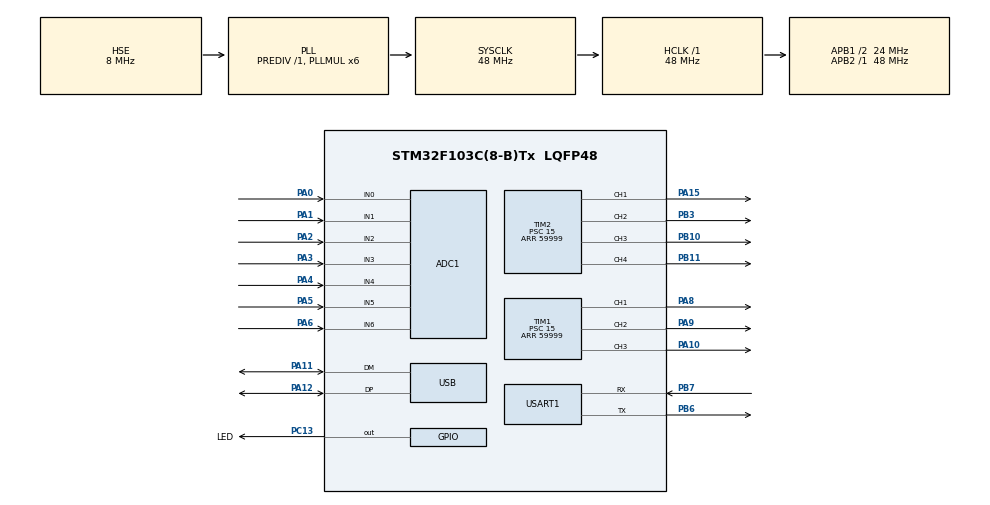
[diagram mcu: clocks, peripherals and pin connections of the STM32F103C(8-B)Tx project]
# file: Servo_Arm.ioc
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ADC1.Channel-0\#ChannelRegularConversion=ADC_CHANNEL_0
ADC1.NbrOfConversionFlag=1
ADC1.Rank-0\#ChannelRegularConversion=1
ADC1.SamplingTime-0\#ChannelRegularConversion=ADC_SAMPLETIME_71CYCLES_5
ADC1.master=1
Mcu.Family=STM32F1
Mcu.Name=STM32F103C(8-B)Tx
Mcu.Package=LQFP48
NVIC.PriorityGroup=NVIC_PRIORITYGROUP_4
NVIC.USART1_IRQn=true\:1\:0\:false\:false\:true\:true\:true\:true
NVIC.USB_LP_CAN1_RX0_IRQn=true\:0\:0\:false\:false\:true\:false\:true\:true
PA0-WKUP.Signal=ADCx_IN0
PA1.Signal=ADCx_IN1
PA10.Signal=S_TIM1_CH3
PA11.Mode=Device
PA11.Signal=USB_DM
PA12.Mode=Device
PA12.Signal=USB_DP
PA13.Mode=Serial_Wire
PA13.Signal=SYS_JTMS-SWDIO
PA14.Mode=Serial_Wire
PA14.Signal=SYS_JTCK-SWCLK
PA15.Signal=S_TIM2_CH1_ETR
PA2.Signal=ADCx_IN2
PA3.Signal=ADCx_IN3
PA4.Signal=ADCx_IN4
PA5.Signal=ADCx_IN5
PA6.Signal=ADCx_IN6
PA8.Signal=S_TIM1_CH1
PA9.Signal=S_TIM1_CH2
PB10.Signal=S_TIM2_CH3
PB11.Signal=S_TIM2_CH4
PB3.Signal=S_TIM2_CH2
PB6.Mode=Asynchronous
PB6.Signal=USART1_TX
PB7.Mode=Asynchronous
PB7.Signal=USART1_RX
PC13-TAMPER-RTC.GPIO_Label=LED
PC13-TAMPER-RTC.PinState=GPIO_PIN_SET
PC13-TAMPER-RTC.Signal=GPIO_Output
PD0-OSC_IN.Mode=HSE-External-Oscillator
PD0-OSC_IN.Signal=RCC_OSC_IN
PD1-OSC_OUT.Mode=HSE-External-Oscillator
PD1-OSC_OUT.Signal=RCC_OSC_OUT
ProjectManager.HeapSize=0x200
ProjectManager.StackSize=0x400
ProjectManager.TargetToolchain=STM32CubeIDE
RCC.ADCPresc=RCC_ADCPCLK2_DIV4
RCC.AHBFreq_Value=48000000
RCC.APB1CLKDivider=RCC_HCLK_DIV2
RCC.APB1Freq_Value=24000000
RCC.APB1TimFreq_Value=48000000
RCC.APB2Freq_Value=48000000
RCC.APB2TimFreq_Value=48000000
RCC.HCLKFreq_Value=48000000
RCC.PLLMUL=RCC_PLL_MUL6
RCC.PLLSourceVirtual=RCC_PLLSOURCE_HSE
RCC.SYSCLKFreq_VALUE=48000000
RCC.SYSCLKSource=RCC_SYSCLKSOURCE_PLLCLK
RCC.USBFreq_Value=48000000
SH.ADCx_IN0.0=ADC1_IN0,IN0
SH.ADCx_IN1.0=ADC1_IN1,IN1
SH.ADCx_IN2.0=ADC1_IN2,IN2
SH.ADCx_IN3.0=ADC1_IN3,IN3
SH.ADCx_IN4.0=ADC1_IN4,IN4
SH.ADCx_IN5.0=ADC1_IN5,IN5
SH.ADCx_IN6.0=ADC1_IN6,IN6
SH.S_TIM1_CH1.0=TIM1_CH1,PWM Generation1 CH1
SH.S_TIM1_CH2.0=TIM1_CH2,PWM Generation2 CH2
SH.S_TIM1_CH3.0=TIM1_CH3,PWM Generation3 CH3
SH.S_TIM2_CH1_ETR.0=TIM2_CH1,PWM Generation1 CH1
SH.S_TIM2_CH2.0=TIM2_CH2,PWM Generation2 CH2
SH.S_TIM2_CH3.0=TIM2_CH3,PWM Generation3 CH3
SH.S_TIM2_CH4.0=TIM2_CH4,PWM Generation4 CH4
TIM1.Channel-PWM\ Generation1\ CH1=TIM_CHANNEL_1
TIM1.Channel-PWM\ Generation2\ CH2=TIM_CHANNEL_2
TIM1.Channel-PWM\ Generation3\ CH3=TIM_CHANNEL_3
TIM1.Period=59999
TIM1.Prescaler=15
TIM2.Channel-PWM\ Generation1\ CH1=TIM_CHANNEL_1
TIM2.Channel-PWM\ Generation2\ CH2=TIM_CHANNEL_2
TIM2.Channel-PWM\ Generation3\ CH3=TIM_CHANNEL_3
TIM2.Channel-PWM\ Generation4\ CH4=TIM_CHANNEL_4
TIM2.Period=59999
TIM2.Prescaler=15
USART1.VirtualMode=VM_ASYNC
USB_DEVICE.CLASS_NAME_FS=CDC
USB_DEVICE.VirtualMode=Cdc
USB_DEVICE.VirtualModeFS=Cdc_FS
VP_USB_DEVICE_VS_USB_DEVICE_CDC_FS.Mode=CDC_FS
board=custom

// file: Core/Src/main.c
/* USER CODE BEGIN Header */
/**
  ******************************************************************************
  * @file           : main.c
  * @brief          : Main program body
  ******************************************************************************
  * @attention
  *
  * Copyright (c) 2026 STMicroelectronics.
  * All rights reserved.
  *
  * This software is licensed under terms that can be found in the LICENSE file
  * in the root directory of this software component.
  * If no LICENSE file comes with this software, it is provided AS-IS.
  *
  ******************************************************************************
  */
/* USER CODE END Header */
#include "main.h"
#include "adc.h"
#include "tim.h"
#include "usart.h"
#include "usb_device.h"
#include "gpio.h"

/* USER CODE BEGIN Includes */
#include "arm.h"
#include "adc_io.h"
#include "uart_io.h"
#include "arm_protocol.h"
/* USER CODE END Includes */

/* USER CODE BEGIN PM */
/*
               _ooOoo_
              o8888888o
              88" . "88
              (| -_- |)
              O\  =  /O
           ____/`---'\____
         .'  \\|     |//  `.
        /  \\|||  :  |||//  \
        /  _||||| -:- |||||-  \
        |   | \\\  -  /// |   |
       | \_|  ''\---/''  |   |
       \  .-\__  `-`  ___/-. /
     ___`. .'  /--.--\  `. . __
    ."" '<  `.___\_<|>_/___.'  >'"".
    | | :  `- \`.;`\ _ /`;.`/ - ` : | |
    \  \ `-.   \_ __\ /__ _/   .-` /  /
======`-.____`-.___\_____/___.-`____.-'======
               `=---='
^^^^^^^^^^^^^^^^^^^^^^^^^^^^^^^^^^^^^^^^^^^^^
        佛祖保佑           永无BUG
*/
/* USER CODE END PM */

void SystemClock_Config(void);

int main(void)
{

  /* MCU Configuration--------------------------------------------------------*/

  /* Reset of all peripherals, Initializes the Flash interface and the Systick. */
  HAL_Init();

  /* Configure the system clock */
  SystemClock_Config();

  /* Initialize all configured peripherals */
  MX_GPIO_Init();
  MX_ADC1_Init();
  MX_TIM1_Init();
  MX_TIM2_Init();
  MX_USART1_UART_Init();
  MX_USB_DEVICE_Init();
  /* USER CODE BEGIN 2 */
  ADC_Init();
  UART_Init();
  Arm_Init();
  uint32_t arm_tick = HAL_GetTick();
  HAL_GPIO_WritePin(GPIOC, GPIO_PIN_13, GPIO_PIN_RESET);
  /* USER CODE END 2 */

  /* Infinite loop */
  while (1)
  {

    /* USER CODE BEGIN 3 */
    uint32_t now = HAL_GetTick();
    if ((uint32_t)(now - arm_tick) >= SERVO_CONTROL_PERIOD_MS) {
      arm_tick = now;
      Arm_Update();
    }

    //复位回中测试
    // Arm_ResetToCenter();

    Arm_ProtocolPoll(now);
    HAL_Delay(1);
  }
  /* USER CODE END 3 */
}

void SystemClock_Config(void)
{
  RCC_OscInitTypeDef RCC_OscInitStruct = {0};
  RCC_ClkInitTypeDef RCC_ClkInitStruct = {0};
  RCC_PeriphCLKInitTypeDef PeriphClkInit = {0};

  /** Initializes the RCC Oscillators according to the specified parameters
  * in the RCC_OscInitTypeDef structure.
  */
  RCC_OscInitStruct.OscillatorType = RCC_OSCILLATORTYPE_HSE;
  RCC_OscInitStruct.HSEState = RCC_HSE_ON;
  RCC_OscInitStruct.HSEPredivValue = RCC_HSE_PREDIV_DIV1;
  RCC_OscInitStruct.HSIState = RCC_HSI_ON;
  RCC_OscInitStruct.PLL.PLLState = RCC_PLL_ON;
  RCC_OscInitStruct.PLL.PLLSource = RCC_PLLSOURCE_HSE;
  RCC_OscInitStruct.PLL.PLLMUL = RCC_PLL_MUL6;
  if (HAL_RCC_OscConfig(&RCC_OscInitStruct) != HAL_OK)
  {
    Error_Handler();
  }

  /** Initializes the CPU, AHB and APB buses clocks
  */
  RCC_ClkInitStruct.ClockType = RCC_CLOCKTYPE_HCLK|RCC_CLOCKTYPE_SYSCLK
                              |RCC_CLOCKTYPE_PCLK1|RCC_CLOCKTYPE_PCLK2;
  RCC_ClkInitStruct.SYSCLKSource = RCC_SYSCLKSOURCE_PLLCLK;
  RCC_ClkInitStruct.AHBCLKDivider = RCC_SYSCLK_DIV1;
  RCC_ClkInitStruct.APB1CLKDivider = RCC_HCLK_DIV2;
  RCC_ClkInitStruct.APB2CLKDivider = RCC_HCLK_DIV1;

  if (HAL_RCC_ClockConfig(&RCC_ClkInitStruct, FLASH_LATENCY_1) != HAL_OK)
  {
    Error_Handler();
  }
  PeriphClkInit.PeriphClockSelection = RCC_PERIPHCLK_ADC|RCC_PERIPHCLK_USB;
  PeriphClkInit.AdcClockSelection = RCC_ADCPCLK2_DIV4;
  PeriphClkInit.UsbClockSelection = RCC_USBCLKSOURCE_PLL;
  if (HAL_RCCEx_PeriphCLKConfig(&PeriphClkInit) != HAL_OK)
  {
    Error_Handler();
  }
}

void Error_Handler(void)
{
  __disable_irq();
  while (1)
  {
  }
}
